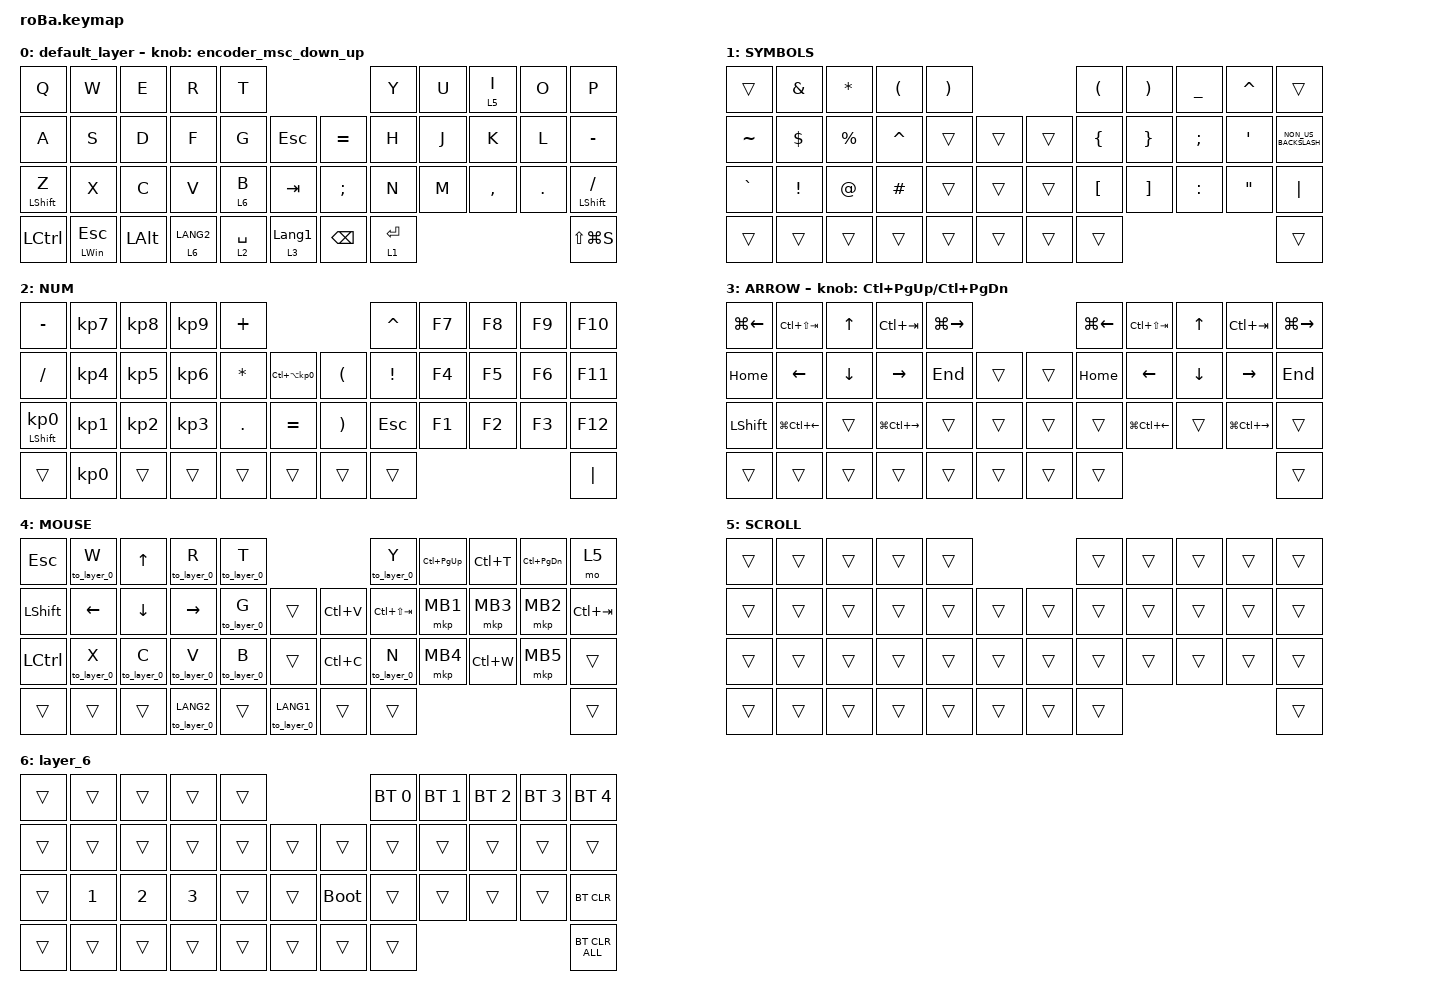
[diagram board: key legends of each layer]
#include <input/processors.dtsi>
#include <behaviors.dtsi>
#include <dt-bindings/zmk/bt.h>
#include <dt-bindings/zmk/keys.h>
#include <dt-bindings/zmk/pointing.h>

// #includeのあとのあたりにスクロール量変更の定義を追記

#define ZMK_POINTING_DEFAULT_SCRL_VAL 80
#define MOUSE 4 // 各自のマウスレイヤーに合わせて設定

&mt {
    flavor = "balanced";
    quick-tap-ms = <0>;
};

&trackball {
    automouse-layer = <4>;
    scroll-layers = <5>;

    // arrows {
    //     layers = <3>;
    //     bindings =
    //         <&kp RIGHT_ARROW>,
    //         <&kp LEFT_ARROW>,
    //         <&kp UP_ARROW>,
    //         <&kp DOWN_ARROW>;
    //     tick = <10>;
    //     wait-ms = <5>;
    //     tap-ms = <5>;
    // };
};

/ {
    combos {
        compatible = "zmk,combos";

        tab {
            bindings = <&kp TAB>;
            key-positions = <11 12>;
        };

        shift_tab {
            bindings = <&kp LS(TAB)>;
            key-positions = <12 13>;
        };

        muhennkann {
            bindings = <&to_layer_0 INT_MUHENKAN>;
            key-positions = <11 10>;
        };

        double_quotation {
            bindings = <&kp DOUBLE_QUOTES>;
            key-positions = <20 21>;
        };

        eq {
            bindings = <&kp EQUAL>;
            key-positions = <24 25>;
        };
    };

    macros {
        to_layer_0: to_layer_0 {
            compatible = "zmk,behavior-macro-one-param";
            #binding-cells = <1>;
            bindings = <&to 0 &macro_param_1to1 &kp MACRO_PLACEHOLDER>;
            label = "TO_LAYER_0";
        };
    };

    // combosやmacrosと同じ階層に以下のbihaviorsを追記
    // スクロール方向を逆にしたい場合は <&msc SCRL_DOWN> と <&msc SCRL_UP> を入れ替えてください

    behaviors {
        encoder_msc_down_up: encoder_msc_down_up {
            compatible = "zmk,behavior-sensor-rotate";
            label = "ENCODER_MSC_DOWN_UP";
            #sensor-binding-cells = <0>;
            bindings = <&msc SCRL_DOWN>, <&msc SCRL_UP>;

            tap-ms = <20>;
        };

        lt_to_layer_0: lt_to_layer_0 {
            compatible = "zmk,behavior-hold-tap";
            label = "LAYER_TAP_TO_0";
            bindings = <&mo>, <&to_layer_0>;

            #binding-cells = <2>;
            tapping-term-ms = <200>;
        };
    };

    keymap {
        compatible = "zmk,keymap";

        default_layer {
            bindings = <
&kp Q             &kp W                &kp E         &kp R        &kp T                                             &kp Y        &kp U  &lt 5 I    &kp O    &kp P
&kp A             &kp S                &kp D         &kp F        &kp G        &kp ESCAPE            &kp EQUAL      &kp H        &kp J  &kp K      &kp L    &kp MINUS
&mt LEFT_SHIFT Z  &kp X                &kp C         &kp V        &lt 6 B      &kp TAB               &kp SEMICOLON  &kp N        &kp M  &kp COMMA  &kp DOT  &mt LEFT_SHIFT SLASH
&kp LCTRL         &mt LEFT_WIN ESCAPE  &kp LEFT_ALT  &lt 6 LANG2  &lt 2 SPACE  &lt 3 LANGUAGE_1      &kp BACKSPACE  &lt 1 ENTER                             &kp LS(LG(S))
            >;

            sensor-bindings = <&encoder_msc_down_up>;
        };

        SYMBOLS {
            bindings = <
&trans     &kp AMPERSAND    &kp ASTERISK  &kp LEFT_PARENTHESIS  &kp RIGHT_PARENTHESIS                      &kp LEFT_PARENTHESIS  &kp RIGHT_PARENTHESIS  &kp UNDERSCORE  &kp CARET          &trans
&kp TILDE  &kp DOLLAR       &kp PERCENT   &kp CARET             &trans                 &trans      &trans  &kp LEFT_BRACE        &kp RIGHT_BRACE        &kp SEMICOLON   &kp SQT            &kp NON_US_BACKSLASH
&kp GRAVE  &kp EXCLAMATION  &kp AT_SIGN   &kp HASH              &trans                 &trans      &trans  &kp LEFT_BRACKET      &kp RIGHT_BRACKET      &kp COLON       &kp DOUBLE_QUOTES  &kp PIPE
&trans     &trans           &trans        &trans                &trans                 &trans      &trans  &trans                                                                          &trans
            >;
        };

        NUM {
            bindings = <
&kp MINUS                   &kp KP_NUMBER_7  &kp KP_NUMBER_8  &kp KP_NUMBER_9  &kp PLUS                                                          &kp CARET        &kp F7  &kp F8  &kp F9  &kp F10
&kp SLASH                   &kp KP_NUMBER_4  &kp KP_NUMBER_5  &kp KP_NUMBER_6  &kp ASTERISK  &kp LC(LA(KP_NUMBER_0))      &kp LEFT_PARENTHESIS   &kp EXCLAMATION  &kp F4  &kp F5  &kp F6  &kp F11
&mt LEFT_SHIFT KP_NUMBER_0  &kp KP_NUMBER_1  &kp KP_NUMBER_2  &kp KP_NUMBER_3  &kp PERIOD    &kp EQUAL                    &kp RIGHT_PARENTHESIS  &kp ESC          &kp F1  &kp F2  &kp F3  &kp F12
&trans                      &kp KP_N0        &trans           &trans           &trans        &trans                       &trans                 &trans                                   &kp PIPE
            >;
        };

        ARROW {
            bindings = <
&kp LG(LEFT)    &kp LC(LS(TAB))         &kp UP_ARROW    &kp LC(TAB)              &kp LG(RIGHT_ARROW)                      &kp LG(LEFT_ARROW)  &kp LC(LS(TAB))         &kp UP    &kp LC(TAB)              &kp LG(RIGHT_ARROW)
&kp HOME        &kp LEFT_ARROW          &kp DOWN_ARROW  &kp RIGHT_ARROW          &kp END              &trans      &trans  &kp HOME            &kp LEFT                &kp DOWN  &kp RIGHT                &kp END
&kp LEFT_SHIFT  &kp LG(LC(LEFT_ARROW))  &trans          &kp LG(LC(RIGHT_ARROW))  &trans               &trans      &trans  &trans              &kp LG(LC(LEFT_ARROW))  &trans    &kp LG(LC(RIGHT_ARROW))  &trans
&trans          &trans                  &trans          &trans                   &trans               &trans      &trans  &trans                                                                         &trans
            >;

            sensor-bindings = <&inc_dec_kp LC(PAGE_UP) LC(PAGE_DOWN)>;
        };

        MOUSE {
            bindings = <
&kp ESC    &to_layer_0 W  &kp UP         &to_layer_0 R      &to_layer_0 T                                    &to_layer_0 Y    &kp LC(PG_UP)  &kp LC(T)  &kp LC(PG_DN)  &mo 5
&kp LSHFT  &kp LEFT       &kp DOWN       &kp RIGHT          &to_layer_0 G  &trans                 &kp LC(V)  &kp LC(LS(TAB))  &mkp MB1       &mkp MB3   &mkp MB2       &kp LC(TAB)
&kp LCTRL  &to_layer_0 X  &to_layer_0 C  &to_layer_0 V      &to_layer_0 B  &trans                 &kp LC(C)  &to_layer_0 N    &mkp MB4       &kp LC(W)  &mkp MB5       &trans
&trans     &trans         &trans         &to_layer_0 LANG2  &trans         &to_layer_0 LANG1      &trans     &trans                                                    &trans
            >;
        };

        SCROLL {
            bindings = <
&trans  &trans  &trans  &trans  &trans                      &trans  &trans  &trans  &trans  &trans
&trans  &trans  &trans  &trans  &trans  &trans      &trans  &trans  &trans  &trans  &trans  &trans
&trans  &trans  &trans  &trans  &trans  &trans      &trans  &trans  &trans  &trans  &trans  &trans
&trans  &trans  &trans  &trans  &trans  &trans      &trans  &trans                          &trans
            >;
        };

        layer_6 {
            bindings = <
&trans  &trans        &trans        &trans        &trans                           &bt BT_SEL 0  &bt BT_SEL 1  &bt BT_SEL 2  &bt BT_SEL 3  &bt BT_SEL 4
&trans  &trans        &trans        &trans        &trans  &trans      &trans       &trans        &trans        &trans        &trans        &trans
&trans  &kp NUMBER_1  &kp NUMBER_2  &kp NUMBER_3  &trans  &trans      &bootloader  &trans        &trans        &trans        &trans        &bt BT_CLR
&trans  &trans        &trans        &trans        &trans  &trans      &trans       &trans                                                  &bt BT_CLR_ALL
            >;
        };
    };
};

&mkp_input_listener { input-processors = <&zip_temp_layer MOUSE 250>; };
